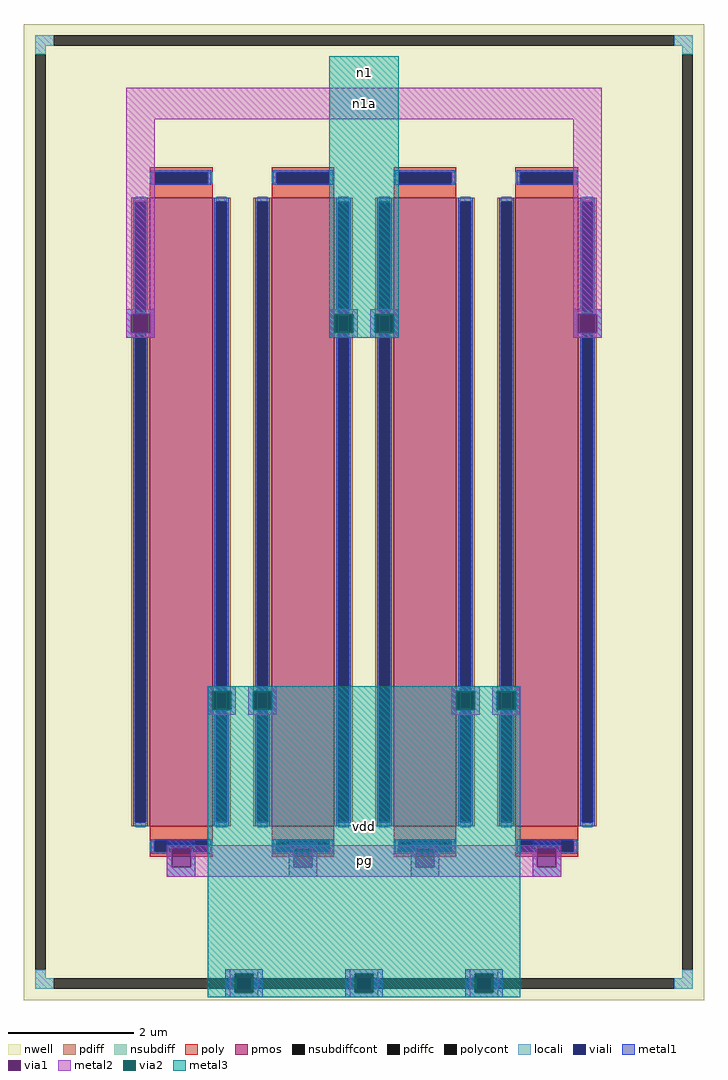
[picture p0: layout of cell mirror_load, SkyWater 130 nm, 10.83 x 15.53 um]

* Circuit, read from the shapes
.subckt mirror_load vdd pg n1a n1
XM1 vdd pg n1a vdd sky130_fd_pr__pfet_01v8 w=10 l=1 m=2
XM2 n1 pg vdd vdd sky130_fd_pr__pfet_01v8 w=10 l=1 m=2
.ends

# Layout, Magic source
magic
tech sky130A
magscale 1 2
<< viali >>
rect 155 -1517 245 -1483
rect 537 -1517 627 -1483
rect 919 -1517 1009 -1483
<< metal1 >>
rect -174 630 -84 645
rect -174 570 -159 630
rect -99 570 -84 630
rect -174 555 -84 570
rect 472 630 562 645
rect 472 570 487 630
rect 547 570 562 630
rect 472 555 562 570
rect 602 630 692 645
rect 602 570 617 630
rect 677 570 692 630
rect 602 555 692 570
rect 1248 630 1338 645
rect 1248 570 1263 630
rect 1323 570 1338 630
rect 1248 555 1338 570
rect 84 -570 174 -555
rect 84 -630 99 -570
rect 159 -630 174 -570
rect 84 -645 174 -630
rect 214 -570 304 -555
rect 214 -630 229 -570
rect 289 -630 304 -570
rect 214 -645 304 -630
rect 860 -570 950 -555
rect 860 -630 875 -570
rect 935 -630 950 -570
rect 860 -645 950 -630
rect 990 -570 1080 -555
rect 990 -630 1005 -570
rect 1065 -630 1080 -570
rect 990 -645 1080 -630
rect -45 -1070 45 -1041
rect -45 -1130 -30 -1070
rect 30 -1130 45 -1070
rect -45 -1160 45 -1130
rect 343 -1070 433 -1041
rect 343 -1130 358 -1070
rect 418 -1130 433 -1070
rect 343 -1160 433 -1130
rect 731 -1070 821 -1041
rect 731 -1130 746 -1070
rect 806 -1130 821 -1070
rect 731 -1160 821 -1130
rect 1119 -1070 1209 -1041
rect 1119 -1130 1134 -1070
rect 1194 -1130 1209 -1070
rect 1119 -1160 1209 -1130
rect 140 -1470 260 -1455
rect 140 -1483 170 -1470
rect 230 -1483 260 -1470
rect 140 -1517 155 -1483
rect 245 -1517 260 -1483
rect 140 -1530 170 -1517
rect 230 -1530 260 -1517
rect 140 -1545 260 -1530
rect 522 -1470 642 -1455
rect 522 -1483 552 -1470
rect 612 -1483 642 -1470
rect 522 -1517 537 -1483
rect 627 -1517 642 -1483
rect 522 -1530 552 -1517
rect 612 -1530 642 -1517
rect 522 -1545 642 -1530
rect 904 -1470 1024 -1455
rect 904 -1483 934 -1470
rect 994 -1483 1024 -1470
rect 904 -1517 919 -1483
rect 1009 -1517 1024 -1483
rect 904 -1530 934 -1517
rect 994 -1530 1024 -1517
rect 904 -1545 1024 -1530
<< via1 >>
rect -159 570 -99 630
rect 487 570 547 630
rect 617 570 677 630
rect 1263 570 1323 630
rect 99 -630 159 -570
rect 229 -630 289 -570
rect 875 -630 935 -570
rect 1005 -630 1065 -570
rect -30 -1130 30 -1070
rect 358 -1130 418 -1070
rect 746 -1130 806 -1070
rect 1134 -1130 1194 -1070
rect 170 -1483 230 -1470
rect 170 -1517 230 -1483
rect 170 -1530 230 -1517
rect 552 -1483 612 -1470
rect 552 -1517 612 -1483
rect 552 -1530 612 -1517
rect 934 -1483 994 -1470
rect 934 -1517 994 -1483
rect 934 -1530 994 -1517
<< metal2 >>
rect -174 1250 1338 1350
rect -174 630 -84 1250
rect -174 570 -159 630
rect -99 570 -84 630
rect -174 555 -84 570
rect 472 630 562 645
rect 472 570 487 630
rect 547 570 562 630
rect 472 555 562 570
rect 602 630 692 645
rect 602 570 617 630
rect 677 570 692 630
rect 602 555 692 570
rect 1248 630 1338 1250
rect 1248 570 1263 630
rect 1323 570 1338 630
rect 1248 555 1338 570
rect 84 -570 174 -555
rect 84 -630 99 -570
rect 159 -630 174 -570
rect 84 -645 174 -630
rect 214 -570 304 -555
rect 214 -630 229 -570
rect 289 -630 304 -570
rect 214 -645 304 -630
rect 860 -570 950 -555
rect 860 -630 875 -570
rect 935 -630 950 -570
rect 860 -645 950 -630
rect 990 -570 1080 -555
rect 990 -630 1005 -570
rect 1065 -630 1080 -570
rect 990 -645 1080 -630
rect -45 -1070 1209 -1060
rect -45 -1130 -30 -1070
rect 30 -1130 358 -1070
rect 418 -1130 746 -1070
rect 806 -1130 1134 -1070
rect 1194 -1130 1209 -1070
rect -45 -1160 1209 -1130
rect 155 -1470 245 -1455
rect 155 -1530 170 -1470
rect 230 -1530 245 -1470
rect 155 -1545 245 -1530
rect 537 -1470 627 -1455
rect 537 -1530 552 -1470
rect 612 -1530 627 -1470
rect 537 -1545 627 -1530
rect 919 -1470 1009 -1455
rect 919 -1530 934 -1470
rect 994 -1530 1009 -1470
rect 919 -1545 1009 -1530
<< via2 >>
rect 487 570 547 630
rect 617 570 677 630
rect 99 -630 159 -570
rect 229 -630 289 -570
rect 875 -630 935 -570
rect 1005 -630 1065 -570
rect 170 -1530 230 -1470
rect 552 -1530 612 -1470
rect 934 -1530 994 -1470
<< metal3 >>
rect 472 630 692 1450
rect 472 570 487 630
rect 547 570 617 630
rect 677 570 692 630
rect 472 555 692 570
rect 84 -570 1080 -555
rect 84 -630 99 -570
rect 159 -630 229 -570
rect 289 -630 875 -570
rect 935 -630 1005 -570
rect 1065 -630 1080 -570
rect 84 -1470 1080 -630
rect 84 -1530 170 -1470
rect 230 -1530 552 -1470
rect 612 -1530 934 -1470
rect 994 -1530 1080 -1470
rect 84 -1545 1080 -1530
use unit_p10_l1  u_A_k0
transform 1 0 0 0 1 0
box -194 -1100 194 1100
use unit_p10_l1  u_A_k3
transform -1 0 1164 0 1 0
box -194 -1100 194 1100
use unit_p10_l1  u_B_k1
transform -1 0 388 0 1 0
box -194 -1100 194 1100
use unit_p10_l1  u_B_k2
transform 1 0 776 0 1 0
box -194 -1100 194 1100
use nwell_ring  u_ring
transform 1 0 0 0 1 0
box -501 -1553 1665 1553
<< labels >>
rlabel metal3 582 -1000 582 -1000 0 vdd
port 1 nsew
rlabel metal2 582 -1110 582 -1110 0 pg
port 2 nsew
rlabel metal2 582 1300 582 1300 0 n1a
port 3 nsew
rlabel metal3 582 1400 582 1400 0 n1
port 4 nsew
<< end >>

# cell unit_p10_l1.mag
magic
tech sky130A
magscale 1 2
<< nwell >>
rect -194 -1100 194 1100
<< pmos >>
rect -100 -1000 100 1000
<< pdiff >>
rect -158 988 -100 1000
rect -158 -988 -146 988
rect -112 -988 -100 988
rect -158 -1000 -100 -988
rect 100 988 158 1000
rect 100 -988 112 988
rect 146 -988 158 988
rect 100 -1000 158 -988
<< pdiffc >>
rect -146 -988 -112 988
rect 112 -988 146 988
<< poly >>
rect -100 1081 100 1097
rect -100 1047 -84 1081
rect 84 1047 100 1081
rect -100 1000 100 1047
rect -100 -1047 100 -1000
rect -100 -1081 -84 -1047
rect 84 -1081 100 -1047
rect -100 -1097 100 -1081
<< polycont >>
rect -84 1047 84 1081
rect -84 -1081 84 -1047
<< locali >>
rect -100 1047 -84 1081
rect 84 1047 100 1081
rect -146 988 -112 1004
rect -146 -1004 -112 -988
rect 112 988 146 1004
rect 112 -1004 146 -988
rect -100 -1081 -84 -1047
rect 84 -1081 100 -1047
<< viali >>
rect -84 1047 84 1081
rect -146 -988 -112 988
rect 112 -988 146 988
rect -84 -1081 84 -1047
<< metal1 >>
rect -96 1081 96 1087
rect -96 1047 -84 1081
rect 84 1047 96 1081
rect -96 1041 96 1047
rect -152 988 -106 1000
rect -152 -988 -146 988
rect -112 -988 -106 988
rect -152 -1000 -106 -988
rect 106 988 152 1000
rect 106 -988 112 988
rect 146 -988 152 988
rect 106 -1000 152 -988
rect -96 -1047 96 -1041
rect -96 -1081 -84 -1047
rect 84 -1081 96 -1047
rect -96 -1087 96 -1081
<< labels >>
rlabel pdiffc -129 0 -129 0 0 D
port 1 nsew
rlabel pdiffc 129 0 129 0 0 S
port 2 nsew
rlabel polycont 0 1064 0 1064 0 G
port 3 nsew
<< end >>

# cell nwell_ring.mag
magic
tech sky130A
magscale 1 2
<< nwell >>
rect -501 -1553 1665 1553
<< nsubdiff >>
rect -465 1483 -405 1517
rect 1569 1483 1629 1517
rect -465 1457 -431 1483
rect -465 -1483 -431 -1457
rect 1595 1457 1629 1483
rect 1595 -1483 1629 -1457
rect -465 -1517 -405 -1483
rect 1569 -1517 1629 -1483
<< nsubdiffcont >>
rect -405 1483 1569 1517
rect -465 -1457 -431 1457
rect 1595 -1457 1629 1457
rect -405 -1517 1569 -1483
<< locali >>
rect -465 1483 -405 1517
rect 1569 1483 1629 1517
rect -465 1457 -431 1483
rect -465 -1483 -431 -1457
rect 1595 1457 1629 1483
rect 1595 -1483 1629 -1457
rect -465 -1517 -405 -1483
rect 1569 -1517 1629 -1483
<< end >>
